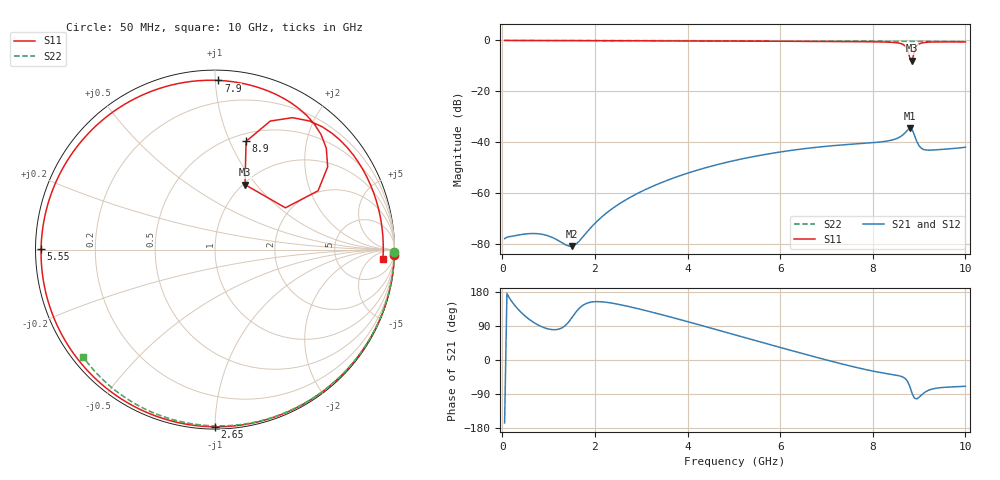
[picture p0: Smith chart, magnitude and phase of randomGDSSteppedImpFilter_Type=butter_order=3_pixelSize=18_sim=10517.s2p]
! freq	dB(S11)	phase(S11)	dB(S12)	phase(S12)
!  dB(S21)	phase(S21)	dB(S22)	phase(S22)
!S-par simulation data
#  GHz  S  DB  R 50
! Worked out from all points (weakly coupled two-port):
!   200 points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, 50 MHz to 10 GHz, reference 50 ohm
!   highest |S21| = -34.39 dB at 8.8 GHz (marker M1); lowest = -80.8 dB at 1.5 GHz (marker M2)
!   lowest |S11| = -8.0 dB at 8.85 GHz (marker M3), VSWR 2.33, Z = 51 + j43.9 ohm
!   |S11| at or under -10 dB: nowhere
!   |S22| runs from -0.5 to 0.0 dB; largest |S21 - S12| = 0
!   S11 on the Smith chart (normalised r, x): 50 MHz: 0, -64; 2.65 GHz: 0.01, -1.00; 5.55 GHz: 0.02, +0.00; 7.9 GHz: 0.06, +1.02; 8.9 GHz: 0.58, +1.15; 10 GHz: 18, -15
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0.05  -0.00 -1.8  -77.78 -166.0  -77.78 -166.0  -0.00 -0.8
0.75  -0.03 -26.6  -75.85 93.9  -75.85 93.9  -0.01 -12.2
1.5  -0.07 -52.3  -80.77 111.1  -80.77 111.1  -0.03 -24.2
1.75  -0.08 -60.7  -76.91 145.1  -76.91 145.1  -0.04 -28.2
2.15  -0.09 -73.9  -69.26 153.5  -69.26 153.5  -0.04 -34.4
2.65  -0.11 -90.0  -62.76 143.3  -62.76 143.3  -0.05 -42.2
3.4  -0.14 -113.4  -56.09 120.9  -56.09 120.9  -0.07 -53.5
4.25  -0.19 -139.5  -50.71 92.9  -50.71 92.9  -0.09 -66.0
5.05  -0.24 -164.2  -46.99 65.5  -46.99 65.5  -0.12 -77.3
5.55  -0.27 179.7  -45.16 48.4  -45.16 48.4  -0.14 -84.2
6.7  -0.37 139.4  -42.11 9.8  -42.11 9.8  -0.19 -99.5
7.35  -0.44 113.5  -41.00 -10.9  -41.00 -10.9  -0.23 -107.9
7.9  -0.51 88.8  -40.28 -26.7  -40.28 -26.7  -0.27 -114.8
8.35  -0.68 65.3  -39.36 -37.0  -39.36 -37.0  -0.31 -120.5
8.55  -0.99 51.7  -38.24 -41.2  -38.24 -41.2  -0.33 -122.9
8.7  -2.17 36.3  -36.22 -48.9  -36.22 -48.9  -0.34 -124.8
8.8  -6.82 30.7  -34.39 -69.7  -34.39 -69.7  -0.35 -126.0
8.85  -7.98 65.2  -34.96 -88.2  -34.96 -88.2  -0.35 -126.6
8.9  -4.05 74.0  -37.20 -100.9  -37.20 -100.9  -0.36 -127.3
9  -1.38 59.6  -41.37 -98.4  -41.37 -98.4  -0.37 -128.5
9.25  -0.62 37.5  -43.06 -77.8  -43.06 -77.8  -0.39 -131.6
10  -0.57 -3.2  -41.92 -69.4  -41.92 -69.4  -0.47 -140.8
